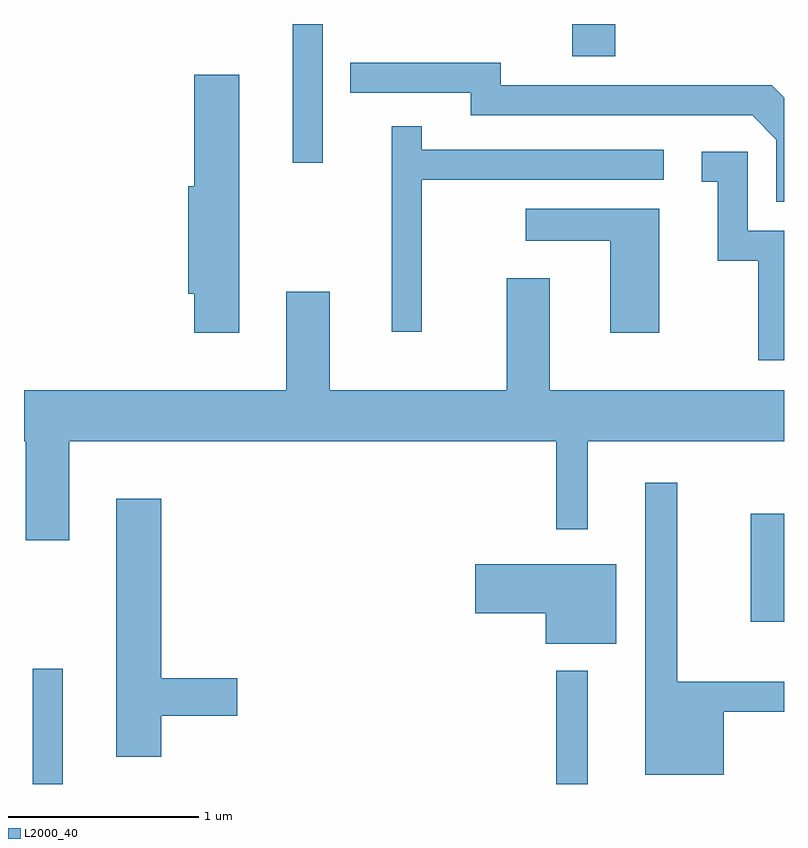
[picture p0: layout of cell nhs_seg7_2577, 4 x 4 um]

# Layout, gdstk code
import gdstk
lib = gdstk.Library(unit=1e-6, precision=1e-09)
def R(c, l, rs):  # rectangles x0, y0, x1, y1
    for r in rs: c.add(gdstk.rectangle(r[:2], r[2:], *l))
def P(c, l, *ps):  # polygons
    for p in ps: c.add(gdstk.Polygon(p, *l))
L2000_40 = (2000, 40)

nhs_seg7_2577 = lib.new_cell('nhs_seg7_2577')
R(nhs_seg7_2577, L2000_40, [(263.656,1750.252,263.814,1750.858), (266.411,1750.252,266.579,1750.848), (267.436,1751.106,267.611,1751.674), (265.026,1753.523,265.184,1754.252), (266.496,1754.081,266.724,1754.252)])
P(nhs_seg7_2577, L2000_40, [(267.611,1753.865),(267.547,1753.929),(266.119,1753.929),(266.119,1754.049),(265.328,1754.049),(265.328,1753.891),(265.961,1753.891),(265.961,1753.771),(267.444,1753.771),(267.571,1753.644),(267.571,1753.316),(267.611,1753.316)],
  [(264.744,1753.984),(264.506,1753.984),(264.506,1753.399),(264.476,1753.399),(264.476,1752.831),(264.506,1752.831),(264.506,1752.626),(264.744,1752.626)],
  [(265.704,1753.431),(266.978,1753.431),(266.978,1753.589),(265.704,1753.589),(265.704,1753.713),(265.546,1753.713),(265.546,1752.633),(265.704,1752.633)],
  [(267.611,1753.164),(267.419,1753.164),(267.419,1753.579),(267.178,1753.579),(267.178,1753.421),(267.261,1753.421),(267.261,1753.006),(267.476,1753.006),(267.476,1752.481),(267.611,1752.481)],
  [(266.954,1753.279),(266.253,1753.279),(266.253,1753.111),(266.696,1753.111),(266.696,1752.626),(266.954,1752.626)],
  [(263.849,1752.056),(266.411,1752.056),(266.411,1751.593),(266.579,1751.593),(266.579,1752.056),(267.611,1752.056),(267.611,1752.324),(266.379,1752.324),(266.379,1752.914),(266.151,1752.914),(266.151,1752.324),(265.219,1752.324),(265.219,1752.844),(264.991,1752.844),(264.991,1752.324),(263.611,1752.324),(263.611,1752.056),(263.621,1752.056),(263.621,1751.536),(263.849,1751.536)],
  [(267.294,1750.631),(267.611,1750.631),(267.611,1750.789),(267.049,1750.789),(267.049,1751.838),(266.881,1751.838),(266.881,1750.301),(267.294,1750.301)],
  [(264.334,1750.611),(264.734,1750.611),(264.734,1750.809),(264.334,1750.809),(264.334,1751.754),(264.096,1751.754),(264.096,1750.396),(264.334,1750.396)],
  [(266.729,1751.409),(265.986,1751.409),(265.986,1751.151),(266.356,1751.151),(266.356,1750.991),(266.729,1750.991)])

lib.write_gds('nhs_seg7_2577.gds')
